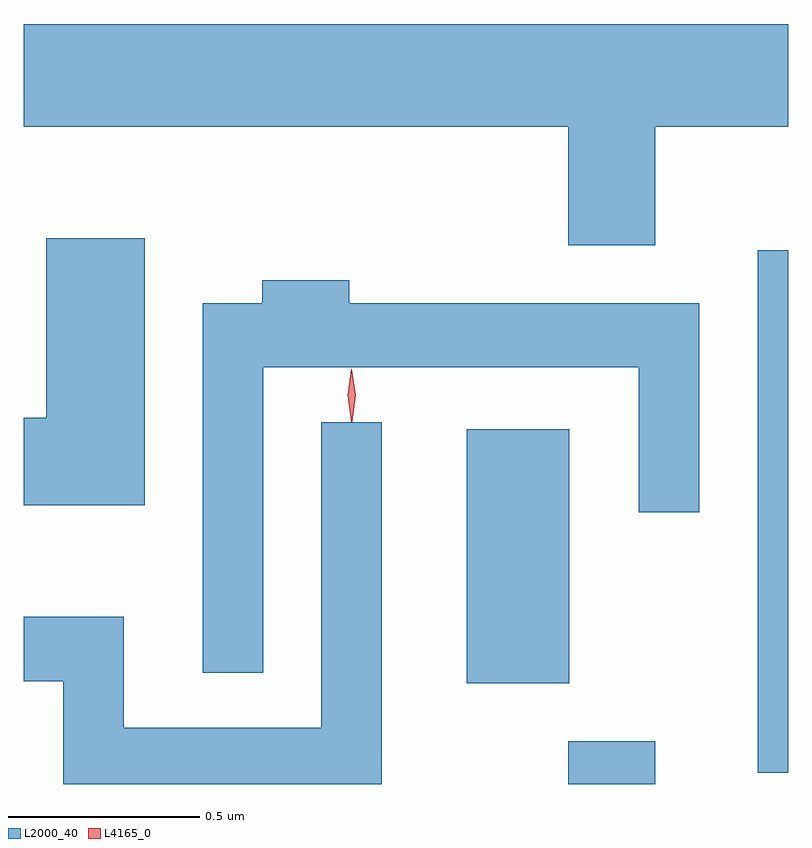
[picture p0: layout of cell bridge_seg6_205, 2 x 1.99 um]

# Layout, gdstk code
import gdstk
lib = gdstk.Library(unit=1e-6, precision=1e-09)
def R(c, l, rs):  # rectangles x0, y0, x1, y1
    for r in rs: c.add(gdstk.rectangle(r[:2], r[2:], *l))
def P(c, l, *ps):  # polygons
    for p in ps: c.add(gdstk.Polygon(p, *l))
L2000_40 = (2000, 40)
L4165_0 = (4165, 0)

bridge_seg6_205 = lib.new_cell('bridge_seg6_205')
R(bridge_seg6_205, L2000_40, [(1043.951,1568.297,1044.179,1568.409), (1044.446,1568.326,1044.527,1569.693), (1043.686,1568.561,1043.954,1569.224)])
P(bridge_seg6_205, L2000_40, [(1044.179,1570.016),(1044.527,1570.016),(1044.527,1570.284),(1042.527,1570.284),(1042.527,1570.016),(1043.951,1570.016),(1043.951,1569.706),(1044.179,1569.706)],
  [(1042.844,1569.724),(1042.586,1569.724),(1042.586,1569.254),(1042.527,1569.254),(1042.527,1569.026),(1042.844,1569.026)],
  [(1043.154,1569.386),(1044.136,1569.386),(1044.136,1569.008),(1044.294,1569.008),(1044.294,1569.554),(1043.379,1569.554),(1043.379,1569.614),(1043.151,1569.614),(1043.151,1569.554),(1042.996,1569.554),(1042.996,1568.588),(1043.154,1568.588)],
  [(1043.464,1569.243),(1043.306,1569.243),(1043.306,1568.444),(1042.789,1568.444),(1042.789,1568.734),(1042.527,1568.734),(1042.527,1568.566),(1042.631,1568.566),(1042.631,1568.297),(1043.464,1568.297)])
P(bridge_seg6_205, L4165_0, [(1043.384,1569.244),(1043.375,1569.313),(1043.384,1569.382),(1043.384,1569.383),(1043.385,1569.382),(1043.395,1569.313),(1043.386,1569.244),(1043.385,1569.244)])

lib.write_gds('bridge_seg6_205.gds')
